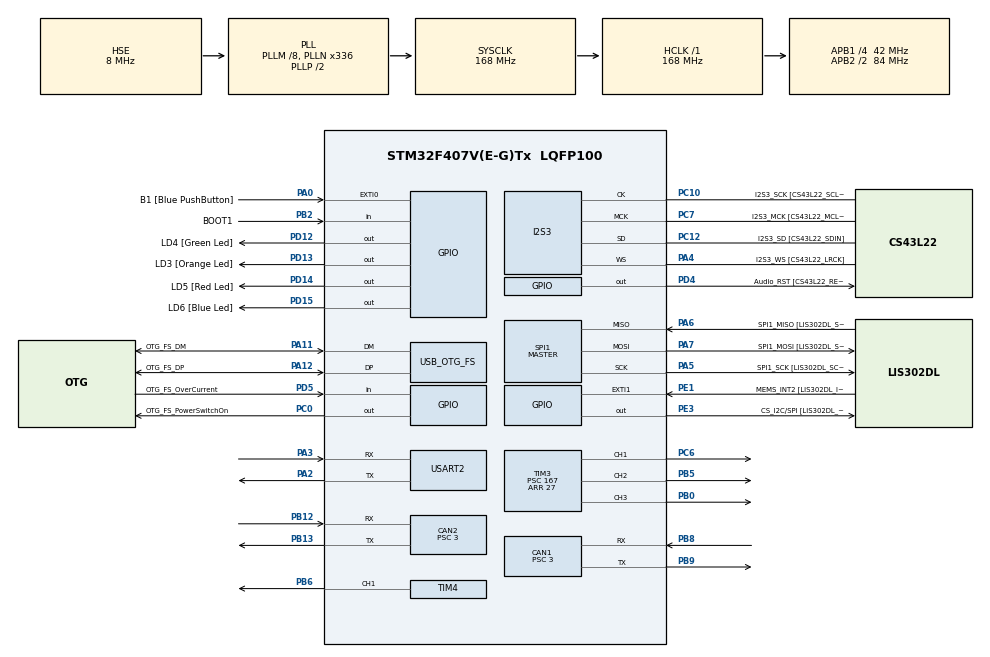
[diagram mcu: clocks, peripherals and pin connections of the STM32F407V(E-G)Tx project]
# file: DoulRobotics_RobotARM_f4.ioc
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CAN1.BS1=CAN_BS1_11TQ
CAN1.BS2=CAN_BS2_2TQ
CAN1.CalculateBaudRate=1000000
CAN1.CalculateTimeBit=1000
CAN1.CalculateTimeQuantum=71.42857142857143
CAN1.Prescaler=3
CAN2.BS1=CAN_BS1_11TQ
CAN2.BS2=CAN_BS2_2TQ
CAN2.CalculateBaudRate=1000000
CAN2.CalculateTimeBit=1000
CAN2.CalculateTimeQuantum=71.42857142857143
CAN2.Prescaler=3
I2S3.AudioFreq-Half_Duplex_Master=I2S_AUDIOFREQ_96K
I2S3.ErrorAudioFreq=-2.34 %
I2S3.ErrorAudioFreq-Half_Duplex_Master=0.8 %
I2S3.FullDuplexMode=I2S_FULLDUPLEXMODE_DISABLE
I2S3.Instance=SPI$Index
I2S3.RealAudioFreq=93.75 KHz
I2S3.RealAudioFreq-Half_Duplex_Master=96.774 KHz
I2S3.VirtualMode=I2S_MODE_MASTER
Mcu.Family=STM32F4
Mcu.Name=STM32F407V(E-G)Tx
Mcu.Package=LQFP100
NVIC.CAN2_RX0_IRQn=true\:0\:3\:false\:false\:true\:true\:true\:true
NVIC.CAN2_TX_IRQn=true\:0\:2\:false\:false\:true\:true\:true\:true
NVIC.OTG_FS_IRQn=true\:1\:0\:true\:false\:true\:true\:true\:true
NVIC.PriorityGroup=NVIC_PRIORITYGROUP_2
NVIC.TIM2_IRQn=true\:1\:0\:true\:false\:true\:true\:true\:true
NVIC.TIM3_IRQn=true\:3\:0\:true\:false\:true\:true\:true\:true
NVIC.USART2_IRQn=true\:2\:0\:true\:false\:true\:true\:true\:true
PA0-WKUP.GPIO_Label=B1 [Blue PushButton]
PA0-WKUP.GPIO_ModeDefaultEXTI=GPIO_MODE_EVT_RISING
PA0-WKUP.GPIO_PuPd=GPIO_NOPULL
PA0-WKUP.Signal=GPXTI0
PA10.GPIO_Label=OTG_FS_ID
PA10.GPIO_Mode=GPIO_MODE_AF_PP
PA10.GPIO_PuPd=GPIO_NOPULL
PA10.GPIO_Speed=GPIO_SPEED_FREQ_LOW
PA10.Signal=USB_OTG_FS_ID
PA11.GPIO_Label=OTG_FS_DM
PA11.GPIO_Mode=GPIO_MODE_AF_PP
PA11.GPIO_PuPd=GPIO_NOPULL
PA11.GPIO_Speed=GPIO_SPEED_FREQ_LOW
PA11.Mode=Device_Only
PA11.Signal=USB_OTG_FS_DM
PA12.GPIO_Label=OTG_FS_DP
PA12.GPIO_Mode=GPIO_MODE_AF_PP
PA12.GPIO_PuPd=GPIO_NOPULL
PA12.GPIO_Speed=GPIO_SPEED_FREQ_LOW
PA12.Mode=Device_Only
PA12.Signal=USB_OTG_FS_DP
PA13.GPIO_Label=SWDIO
PA13.Mode=Serial_Wire
PA13.Signal=SYS_JTMS-SWDIO
PA14.GPIO_Label=SWCLK
PA14.Mode=Serial_Wire
PA14.Signal=SYS_JTCK-SWCLK
PA2.Mode=Asynchronous
PA2.Signal=USART2_TX
PA3.Mode=Asynchronous
PA3.Signal=USART2_RX
PA4.GPIO_Label=I2S3_WS [CS43L22_LRCK]
PA4.GPIO_Mode=GPIO_MODE_AF_PP
PA4.GPIO_PuPd=GPIO_NOPULL
PA4.GPIO_Speed=GPIO_SPEED_FREQ_LOW
PA4.Mode=Half_Duplex_Master
PA4.Signal=I2S3_WS
PA5.GPIO_Label=SPI1_SCK [LIS302DL_SCL/SPC]
PA5.GPIO_Mode=GPIO_MODE_AF_PP
PA5.GPIO_PuPd=GPIO_NOPULL
PA5.GPIO_Speed=GPIO_SPEED_FREQ_LOW
PA5.Mode=Full_Duplex_Master
PA5.Signal=SPI1_SCK
PA6.GPIO_Label=SPI1_MISO [LIS302DL_SDO]
PA6.GPIO_Mode=GPIO_MODE_AF_PP
PA6.GPIO_PuPd=GPIO_NOPULL
PA6.GPIO_Speed=GPIO_SPEED_FREQ_LOW
PA6.Mode=Full_Duplex_Master
PA6.Signal=SPI1_MISO
PA7.GPIO_Label=SPI1_MOSI [LIS302DL_SDA/SDI/SDO]
PA7.GPIO_Mode=GPIO_MODE_AF_PP
PA7.GPIO_PuPd=GPIO_NOPULL
PA7.GPIO_Speed=GPIO_SPEED_FREQ_LOW
PA7.Mode=Full_Duplex_Master
PA7.Signal=SPI1_MOSI
PA9.GPIO_Label=VBUS_FS
PA9.GPIO_Mode=GPIO_MODE_INPUT
PA9.GPIO_PuPd=GPIO_NOPULL
PA9.Signal=USB_OTG_FS_VBUS
PB0.Signal=S_TIM3_CH3
PB10.GPIO_Label=CLK_IN [MP45DT02_CLK]
PB10.GPIO_Mode=GPIO_MODE_AF_PP
PB10.GPIO_PuPd=GPIO_NOPULL
PB10.GPIO_Speed=GPIO_SPEED_FREQ_LOW
PB10.Signal=I2S2_CK
PB12.Mode=CAN_Activate
PB12.Signal=CAN2_RX
PB13.Mode=CAN_Activate
PB13.Signal=CAN2_TX
PB2.GPIO_Label=BOOT1
PB2.GPIO_Mode=GPIO_MODE_INPUT
PB2.GPIO_PuPd=GPIO_NOPULL
PB2.Signal=GPIO_Input
PB3.GPIO_Label=SWO
PB3.Signal=SYS_JTDO-SWO
PB5.Signal=S_TIM3_CH2
PB6.Signal=S_TIM4_CH1
PB8.Mode=CAN_Activate
PB8.Signal=CAN1_RX
PB9.Mode=CAN_Activate
PB9.Signal=CAN1_TX
PC0.GPIO_Label=OTG_FS_PowerSwitchOn
PC0.GPIO_PuPd=GPIO_NOPULL
PC0.GPIO_Speed=GPIO_SPEED_FREQ_LOW
PC0.PinState=GPIO_PIN_SET
PC0.Signal=GPIO_Output
PC10.GPIO_Label=I2S3_SCK [CS43L22_SCLK]
PC10.GPIO_Mode=GPIO_MODE_AF_PP
PC10.GPIO_PuPd=GPIO_NOPULL
PC10.GPIO_Speed=GPIO_SPEED_FREQ_LOW
PC10.Mode=Half_Duplex_Master
PC10.Signal=I2S3_CK
PC12.GPIO_Label=I2S3_SD [CS43L22_SDIN]
PC12.GPIO_Mode=GPIO_MODE_AF_PP
PC12.GPIO_PuPd=GPIO_NOPULL
PC12.GPIO_Speed=GPIO_SPEED_FREQ_LOW
PC12.Mode=Half_Duplex_Master
PC12.Signal=I2S3_SD
PC14-OSC32_IN.GPIO_Label=PC14-OSC32_IN
PC14-OSC32_IN.Signal=RCC_OSC32_IN
PC15-OSC32_OUT.GPIO_Label=PC15-OSC32_OUT
PC15-OSC32_OUT.Signal=RCC_OSC32_OUT
PC3.GPIO_Label=PDM_OUT [MP45DT02_DOUT]
PC3.GPIO_Mode=GPIO_MODE_AF_PP
PC3.GPIO_PuPd=GPIO_NOPULL
PC3.GPIO_Speed=GPIO_SPEED_FREQ_LOW
PC3.Signal=I2S2_SD
PC6.Signal=S_TIM3_CH1
PC7.GPIO_Label=I2S3_MCK [CS43L22_MCLK]
PC7.GPIO_Mode=GPIO_MODE_AF_PP
PC7.GPIO_PuPd=GPIO_NOPULL
PC7.GPIO_Speed=GPIO_SPEED_FREQ_LOW
PC7.Mode=Master_Clock_Activated
PC7.Signal=I2S3_MCK
PD12.GPIO_Label=LD4 [Green Led]
PD12.GPIO_PuPd=GPIO_NOPULL
PD12.GPIO_Speed=GPIO_SPEED_FREQ_LOW
PD12.Signal=GPIO_Output
PD13.GPIO_Label=LD3 [Orange Led]
PD13.GPIO_PuPd=GPIO_NOPULL
PD13.GPIO_Speed=GPIO_SPEED_FREQ_LOW
PD13.Signal=GPIO_Output
PD14.GPIO_Label=LD5 [Red Led]
PD14.GPIO_PuPd=GPIO_NOPULL
PD14.GPIO_Speed=GPIO_SPEED_FREQ_LOW
PD14.Signal=GPIO_Output
PD15.GPIO_Label=LD6 [Blue Led]
PD15.GPIO_PuPd=GPIO_NOPULL
PD15.GPIO_Speed=GPIO_SPEED_FREQ_LOW
PD15.Signal=GPIO_Output
PD4.GPIO_Label=Audio_RST [CS43L22_RESET]
PD4.GPIO_PuPd=GPIO_NOPULL
PD4.GPIO_Speed=GPIO_SPEED_FREQ_LOW
PD4.Signal=GPIO_Output
PD5.GPIO_Label=OTG_FS_OverCurrent
PD5.GPIO_Mode=GPIO_MODE_INPUT
PD5.GPIO_PuPd=GPIO_NOPULL
PD5.Signal=GPIO_Input
PE1.GPIO_Label=MEMS_INT2 [LIS302DL_INT2]
PE1.GPIO_ModeDefaultEXTI=GPIO_MODE_EVT_RISING
PE1.GPIO_PuPd=GPIO_NOPULL
PE1.Signal=GPXTI1
PE3.GPIO_Label=CS_I2C/SPI [LIS302DL_CS_I2C/SPI]
PE3.GPIO_PuPd=GPIO_NOPULL
PE3.GPIO_Speed=GPIO_SPEED_FREQ_LOW
PE3.Signal=GPIO_Output
PH0-OSC_IN.GPIO_Label=PH0-OSC_IN
PH0-OSC_IN.Mode=HSE-External-Oscillator
PH0-OSC_IN.Signal=RCC_OSC_IN
PH1-OSC_OUT.GPIO_Label=PH1-OSC_OUT
PH1-OSC_OUT.Mode=HSE-External-Oscillator
PH1-OSC_OUT.Signal=RCC_OSC_OUT
ProjectManager.HeapSize=0x600
ProjectManager.StackSize=0x400
ProjectManager.TargetToolchain=STM32CubeIDE
RCC.48MHZClocksFreq_Value=48000000
RCC.AHBFreq_Value=168000000
RCC.APB1CLKDivider=RCC_HCLK_DIV4
RCC.APB1Freq_Value=42000000
RCC.APB1TimFreq_Value=84000000
RCC.APB2CLKDivider=RCC_HCLK_DIV2
RCC.APB2Freq_Value=84000000
RCC.APB2TimFreq_Value=168000000
RCC.CortexFreq_Value=168000000
RCC.HCLKFreq_Value=168000000
RCC.HSE_VALUE=8000000
RCC.HSI_VALUE=16000000
RCC.LSE_VALUE=32768
RCC.PLLM=8
RCC.PLLN=336
RCC.PLLQ=7
RCC.SYSCLKFreq_VALUE=168000000
RCC.SYSCLKSource=RCC_SYSCLKSOURCE_PLLCLK
RCC.VCOOutputFreq_Value=336000000
SH.S_TIM3_CH1.0=TIM3_CH1,PWM Generation1 CH1
SH.S_TIM3_CH2.0=TIM3_CH2,PWM Generation2 CH2
SH.S_TIM3_CH3.0=TIM3_CH3,PWM Generation3 CH3
SH.S_TIM4_CH1.0=TIM4_CH1,PWM Generation1 CH1
SPI1.BaudRatePrescaler-Full_Duplex_Master=SPI_BAUDRATEPRESCALER_2
SPI1.CalculateBaudRate-Full_Duplex_Master=42.0 MBits/s
SPI1.Direction=SPI_DIRECTION_2LINES
SPI1.Mode=SPI_MODE_MASTER
SPI1.Mode-Full_Duplex_Master=SPI_MODE_MASTER
SPI1.VirtualType=VM_MASTER
TIM2.AutoReloadPreload=TIM_AUTORELOAD_PRELOAD_ENABLE
TIM2.Period=10-1
TIM2.Prescaler=8400-1
TIM3.AutoReloadPreload=TIM_AUTORELOAD_PRELOAD_ENABLE
TIM3.Channel-PWM\ Generation1\ CH1=TIM_CHANNEL_1
TIM3.Channel-PWM\ Generation2\ CH2=TIM_CHANNEL_2
TIM3.Channel-PWM\ Generation3\ CH3=TIM_CHANNEL_3
TIM3.Period=27
TIM3.Prescaler=167
TIM4.AutoReloadPreload=TIM_AUTORELOAD_PRELOAD_ENABLE
TIM4.Channel-PWM\ Generation1\ CH1=TIM_CHANNEL_1
TIM4.Period=1000-1
TIM4.Prescaler=1680-1
TIM4.Pulse-PWM\ Generation1\ CH1=75
USART2.VirtualMode=VM_ASYNC
USB_DEVICE.APP_RX_DATA_SIZE-CDC_FS=512
USB_DEVICE.APP_TX_DATA_SIZE-CDC_FS=512
USB_DEVICE.CLASS_NAME_FS=CDC
USB_DEVICE.VirtualMode-CDC_FS=Cdc
USB_DEVICE.VirtualModeFS=Cdc_FS
USB_OTG_FS.VirtualMode=Device_Only
VP_TIM2_VS_ClockSourceINT.Mode=Internal
VP_TIM3_VS_ClockSourceINT.Mode=Internal
VP_TIM4_VS_ClockSourceINT.Mode=Internal
VP_USB_DEVICE_VS_USB_DEVICE_CDC_FS.Mode=CDC_FS
board=STM32F407G-DISC1

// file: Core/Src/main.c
/* USER CODE BEGIN Header */
/**
  ******************************************************************************
  * @file           : main.c
  * @brief          : Main program body
  ******************************************************************************
  * @attention
  *
  * Copyright (c) 2026 STMicroelectronics.
  * All rights reserved.
  *
  * This software is licensed under terms that can be found in the LICENSE file
  * in the root directory of this software component.
  * If no LICENSE file comes with this software, it is provided AS-IS.
  *
  ******************************************************************************
  */
/* USER CODE END Header */
#include "main.h"
#include "can.h"
#include "i2s.h"
#include "spi.h"
#include "tim.h"
#include "usart.h"
#include "usb_device.h"
#include "gpio.h"

/* USER CODE BEGIN Includes */
#include <string.h>
#include "usbd_cdc_if.h"
#include "config.h"
#include "RobStride_MIT.h"
#include "cmd.h"
#include "trajectory.h"
#include "pd_control.h"
#include "axis.h"
#include "servo_control.h"
#include "pwm.h"
#include "kin_bridge.h"

/* USER CODE END Includes */

/* USER CODE BEGIN PV */
extern uint8_t s_rx_byte;
/* USER CODE END PV */

void SystemClock_Config(void);

int main(void)
{

  /* MCU Configuration--------------------------------------------------------*/

  /* Reset of all peripherals, Initializes the Flash interface and the Systick. */
  HAL_Init();

  /* Configure the system clock */
  SystemClock_Config();

  /* Initialize all configured peripherals */
  MX_GPIO_Init();
  MX_CAN1_Init();
  MX_CAN2_Init();
  MX_I2S3_Init();
  MX_SPI1_Init();
  MX_TIM3_Init();
  MX_USB_DEVICE_Init();
  MX_TIM2_Init();
  MX_TIM4_Init();
  MX_USART2_UART_Init();
  /* USER CODE BEGIN 2 */

  config_Init();

  RS_AllMotors_Init(&hcan2);

  cmd_Init();
  pd_Init();
  Servo_Init();
  PWM_Init();

  CAN_FilterTypeDef sFilterConfig;
  sFilterConfig.FilterBank           = 14;   // CAN2는 14~27 사용
  sFilterConfig.FilterMode           = CAN_FILTERMODE_IDMASK;
  sFilterConfig.FilterScale          = CAN_FILTERSCALE_32BIT;
  sFilterConfig.FilterIdHigh         = 0x0000;
  sFilterConfig.FilterIdLow          = 0x0000;
  sFilterConfig.FilterMaskIdHigh     = 0x0000;  // 마스크 0 = 전부 통과
  sFilterConfig.FilterMaskIdLow      = 0x0000;
  sFilterConfig.FilterFIFOAssignment = CAN_RX_FIFO0;
  sFilterConfig.FilterActivation     = ENABLE;
  sFilterConfig.SlaveStartFilterBank = 14;   // CAN2 슬레이브 시작 뱅크
  HAL_CAN_ConfigFilter(&hcan2, &sFilterConfig);
  HAL_CAN_Start(&hcan2);
  HAL_CAN_ActivateNotification(&hcan2,
                              CAN_IT_RX_FIFO0_MSG_PENDING |
                              CAN_IT_TX_MAILBOX_EMPTY);

  HAL_TIM_Base_Start_IT(&htim2);

  HAL_Delay(1000);

  char *msg = "Robstaride MIT Ready\r\n";
  CDC_Transmit_FS((uint8_t*)msg, strlen(msg));
  /* USER CODE END 2 */

  /* Infinite loop */
  /* USER CODE BEGIN WHILE */
  while (1)
  {
    cmd_Update();
    kin_RunnerUpdate();
    /* USER CODE END WHILE */

  }
}

void SystemClock_Config(void)
{
  RCC_OscInitTypeDef RCC_OscInitStruct = {0};
  RCC_ClkInitTypeDef RCC_ClkInitStruct = {0};

  /** Configure the main internal regulator output voltage
  */
  __HAL_RCC_PWR_CLK_ENABLE();
  __HAL_PWR_VOLTAGESCALING_CONFIG(PWR_REGULATOR_VOLTAGE_SCALE1);

  /** Initializes the RCC Oscillators according to the specified parameters
  * in the RCC_OscInitTypeDef structure.
  */
  RCC_OscInitStruct.OscillatorType = RCC_OSCILLATORTYPE_HSE;
  RCC_OscInitStruct.HSEState = RCC_HSE_ON;
  RCC_OscInitStruct.PLL.PLLState = RCC_PLL_ON;
  RCC_OscInitStruct.PLL.PLLSource = RCC_PLLSOURCE_HSE;
  RCC_OscInitStruct.PLL.PLLM = 8;
  RCC_OscInitStruct.PLL.PLLN = 336;
  RCC_OscInitStruct.PLL.PLLP = RCC_PLLP_DIV2;
  RCC_OscInitStruct.PLL.PLLQ = 7;
  if (HAL_RCC_OscConfig(&RCC_OscInitStruct) != HAL_OK)
  {
    Error_Handler();
  }

  /** Initializes the CPU, AHB and APB buses clocks
  */
  RCC_ClkInitStruct.ClockType = RCC_CLOCKTYPE_HCLK|RCC_CLOCKTYPE_SYSCLK
                              |RCC_CLOCKTYPE_PCLK1|RCC_CLOCKTYPE_PCLK2;
  RCC_ClkInitStruct.SYSCLKSource = RCC_SYSCLKSOURCE_PLLCLK;
  RCC_ClkInitStruct.AHBCLKDivider = RCC_SYSCLK_DIV1;
  RCC_ClkInitStruct.APB1CLKDivider = RCC_HCLK_DIV4;
  RCC_ClkInitStruct.APB2CLKDivider = RCC_HCLK_DIV2;

  if (HAL_RCC_ClockConfig(&RCC_ClkInitStruct, FLASH_LATENCY_5) != HAL_OK)
  {
    Error_Handler();
  }
}

/* USER CODE BEGIN 4 */
void HAL_UART_RxCpltCallback(UART_HandleTypeDef *huart)
{
    if (huart->Instance == USART2)
    {
        /* 1. 수신한 바이트 처리 (파싱 + 에코) */
        RS232_ProcessByte(s_rx_byte);

        /* 2. 다음 1바이트 수신 재등록 — 반드시 호출 */
        HAL_UART_Receive_IT(&huart2, &s_rx_byte, 1);
    }
}

void HAL_CAN_RxFifo0MsgPendingCallback(CAN_HandleTypeDef *hcan)
{
    if (hcan->Instance == CAN2)
        RS_CAN2_RxCallback(hcan);
}

void HAL_CAN_TxMailbox0CompleteCallback(CAN_HandleTypeDef *hcan)
{
    if (hcan->Instance == CAN2)
    {
        RS_CAN2_TxPump(hcan);
    }
}

void HAL_CAN_TxMailbox1CompleteCallback(CAN_HandleTypeDef *hcan)
{
    if (hcan->Instance == CAN2)
    {
        RS_CAN2_TxPump(hcan);
    }
}

void HAL_CAN_TxMailbox2CompleteCallback(CAN_HandleTypeDef *hcan)
{
    if (hcan->Instance == CAN2)
    {
        RS_CAN2_TxPump(hcan);
    }
}

void HAL_TIM_PeriodElapsedCallback(TIM_HandleTypeDef *htim)
{
    if (htim->Instance == TIM2)
    {
        axis_J2_Update(RS_J2.feedback.Angle);
        cart_Update();
        if (kin_GetRunState() != KIN_RUN_IDLE) {
            float jg[3];
            if (kin_GetJointGoal(jg)) {
                pd_SetGoal(0, jg[0]);
                pd_SetGoal(1, jg[1]);
                pd_SetGoal(2, jg[2]);
            }
        }
        traj_Update();

        for (int i = 0; i < MOTOR_COUNT; i++)
        {
            float ref_pos, ref_vel;

            if (traj_IsActive(i))
            {
                /* 궤적 진행 중: 궤적 따라가며 홀드 목표 갱신 */
                ref_pos = traj_GetTargetPos(i);
                ref_vel = traj_GetTargetVel(i);
                pd_SetGoal(i, ref_pos);          /* ★ 홀드 목표 저장 */
            }
            else
            {
                /* 궤적 끝남: 마지막 목표 홀드 + 속도 0 */
                if (!pd_HasGoal(i)) continue;    /* 명령 한 번도 없으면 skip */
                ref_pos = pd_GetGoal(i);         /* ★ 홀드 목표 */
                ref_vel = 0.0f;
            }

            /* 현재 위치: 외부PD는 연속각, 내부PD는 raw */
            float cur_pos, cur_vel = RS_Motors[i]->feedback.Speed;
            if (pd_GetMode(i) == PD_MODE_EXTERNAL)
                cur_pos = axis_J2_GetContinuousRad();
            else
                cur_pos = RS_Motors[i]->feedback.Angle;

            PDOutput_t out;
            pd_Compute(i, ref_pos, ref_vel, cur_pos, cur_vel, &out);

            RS_MIT_Control(RS_Motors[i],
                           out.pos, out.vel, out.kp, out.kd, out.torque);

            if (traj_IsActive(i) && traj_IsFinished(i))
                traj_Stop(i);
        }
    }
}
/* USER CODE END 4 */

void Error_Handler(void)
{
  __disable_irq();
  while (1)
  {
  }
}
